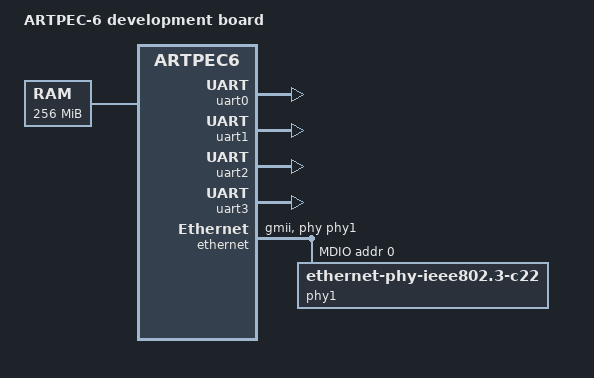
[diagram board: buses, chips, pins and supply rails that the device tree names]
/*
 * Axis ARTPEC-6 development board.
 *
 * This file is licensed under the terms of the GNU General Public License
 * version 2.  This program is licensed "as is" without any warranty of any
 * kind, whether express or implied.
 */

/dts-v1/;
#include "artpec6.dtsi"

/ {
	model = "ARTPEC-6 development board";
	compatible = "axis,artpec6-dev-board", "axis,artpec6";

	aliases {
		serial0 = &uart0;
		serial1 = &uart1;
		serial2 = &uart2;
		serial3 = &uart3;
	};

	chosen {
		stdout-path = "serial3:115200n8";
	};

	memory {
		device_type = "memory";
		reg = <0x0 0x10000000>;
	};
};

&uart0 {
	status = "okay";
};

&uart1 {
	status = "okay";
};

&uart2 {
	status = "okay";
};

&uart3 {
	status = "okay";
};

&ethernet {
	status = "okay";

	phy-handle = <&phy1>;
	phy-mode = "gmii";

	mdio {
		#address-cells = <0x1>;
		#size-cells = <0x0>;
		phy1: phy@0 {
			compatible = "ethernet-phy-ieee802.3-c22";
			device_type = "ethernet-phy";
			reg = <0x0>;
		};
	};
};
